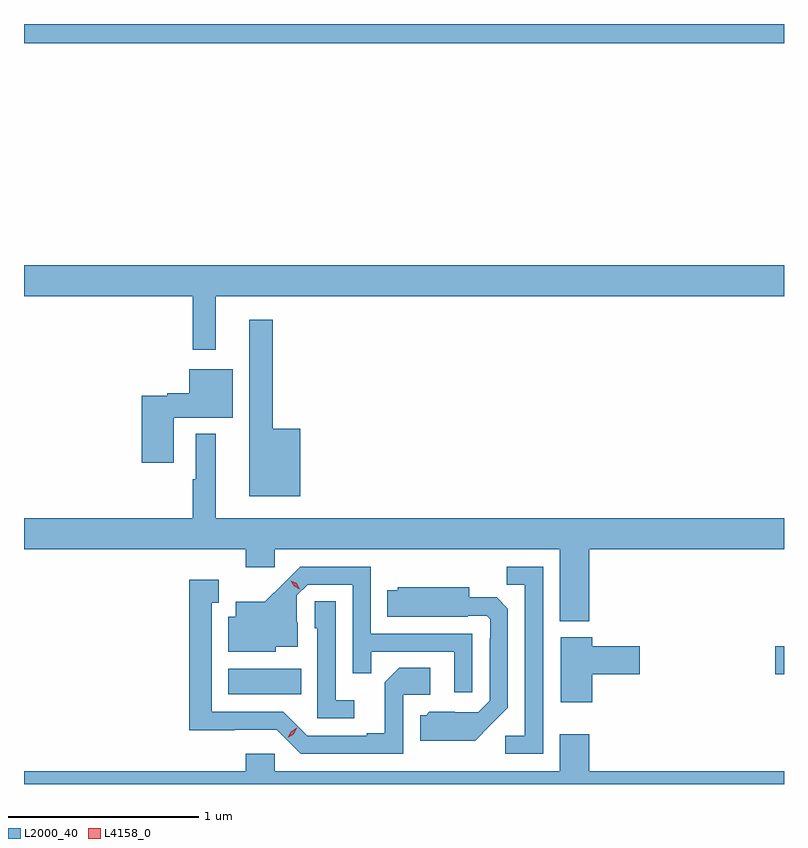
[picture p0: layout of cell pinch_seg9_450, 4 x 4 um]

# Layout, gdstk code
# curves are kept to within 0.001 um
import gdstk
lib = gdstk.Library(unit=1e-6, precision=1e-09)
def R(c, l, rs):  # rectangles x0, y0, x1, y1
    for r in rs: c.add(gdstk.rectangle(r[:2], r[2:], *l))
def P(c, l, *ps):  # polygons
    for p in ps: c.add(gdstk.Polygon(p, *l))
L2000_40 = (2000, 40)
L4158_0 = (4158, 0)

pinch_seg9_450 = lib.new_cell('pinch_seg9_450')
R(pinch_seg9_450, L2000_40, [(255.032,1198.322,255.416,1198.456), (257.91,1198.427,257.957,1198.574), (253.957,1201.748,257.957,1201.849)])
P(pinch_seg9_450, L2000_40, [(254.965,1200.416),(257.957,1200.416),(257.957,1200.58),(253.957,1200.58),(253.957,1200.416),(254.844,1200.416),(254.844,1200.135),(254.965,1200.135)],
  [(255.412,1199.719),(255.265,1199.719),(255.265,1200.292),(255.143,1200.292),(255.143,1199.363),(255.412,1199.363)],
  [(254.746,1199.777),(255.055,1199.777),(255.055,1200.031),(254.828,1200.031),(254.828,1199.906),(254.712,1199.906),(254.712,1199.893),(254.576,1199.893),(254.576,1199.541),(254.746,1199.541)],
  [(256.931,1199.084),(257.957,1199.084),(257.957,1199.248),(254.965,1199.248),(254.965,1199.692),(254.861,1199.692),(254.861,1199.453),(254.844,1199.453),(254.844,1199.248),(253.957,1199.248),(253.957,1199.084),(255.125,1199.084),(255.125,1198.989),(255.276,1198.989),(255.276,1199.084),(256.778,1199.084),(256.778,1198.706),(256.931,1198.706)],
  [(256.317,1198.641),(255.783,1198.641),(255.783,1198.992),(255.41,1198.992),(255.223,1198.807),(255.071,1198.807),(255.071,1198.729),(255.032,1198.729),(255.032,1198.544),(255.282,1198.544),(255.282,1198.571),(255.397,1198.571),(255.397,1198.7),(255.393,1198.7),(255.393,1198.842),(255.45,1198.899),(255.687,1198.899),(255.687,1198.432),(255.785,1198.432),(255.785,1198.545),(256.221,1198.545),(256.221,1198.332),(256.317,1198.332)],
  [(256.689,1198.992),(256.498,1198.992),(256.498,1198.897),(256.593,1198.897),(256.593,1198.104),(256.491,1198.104),(256.491,1198.008),(256.689,1198.008)],
  [(255.954,1198.32),(256.096,1198.32),(256.096,1198.46),(255.931,1198.46),(255.855,1198.384),(255.855,1198.117),(255.761,1198.117),(255.761,1198.104),(255.447,1198.104),(255.321,1198.23),(254.944,1198.23),(254.944,1198.803),(254.983,1198.803),(254.983,1198.924),(254.826,1198.924),(254.826,1198.133),(255.288,1198.134),(255.414,1198.008),(255.954,1198.008)],
  [(256.411,1198.157),(256.503,1198.25),(256.503,1198.772),(256.444,1198.831),(256.3,1198.831),(256.3,1198.885),(255.924,1198.885),(255.924,1198.87),(255.868,1198.87),(255.868,1198.73),(256.292,1198.73),(256.292,1198.734),(256.392,1198.734),(256.41,1198.716),(256.41,1198.616),(256.407,1198.616),(256.407,1198.287),(256.347,1198.227),(256.09,1198.228),(256.074,1198.212),(256.043,1198.212),(256.043,1198.076),(256.331,1198.076)],
  [(255.694,1198.291),(255.597,1198.291),(255.597,1198.811),(255.486,1198.811),(255.486,1198.668),(255.501,1198.668),(255.501,1198.194),(255.694,1198.194)],
  [(256.948,1198.427),(257.197,1198.427),(257.197,1198.574),(256.948,1198.574),(256.948,1198.621),(256.781,1198.621),(256.781,1198.278),(256.948,1198.278)],
  [(257.957,1197.916),(256.931,1197.916),(256.931,1198.111),(256.778,1198.111),(256.778,1197.916),(255.276,1197.916),(255.276,1198.009),(255.125,1198.009),(255.125,1197.916),(253.957,1197.916),(253.957,1197.849),(257.957,1197.849)])
P(pinch_seg9_450, L4158_0, [(255.409,1198.875),(255.379,1198.89),(255.362,1198.92),(255.362,1198.92),(255.362,1198.92),(255.393,1198.905),(255.409,1198.875),(255.409,1198.875)],
  [(255.344,1198.092),(255.344,1198.092),(255.361,1198.125),(255.393,1198.144),(255.393,1198.144),(255.393,1198.144),(255.376,1198.112),(255.345,1198.092)])

lib.write_gds('pinch_seg9_450.gds')
